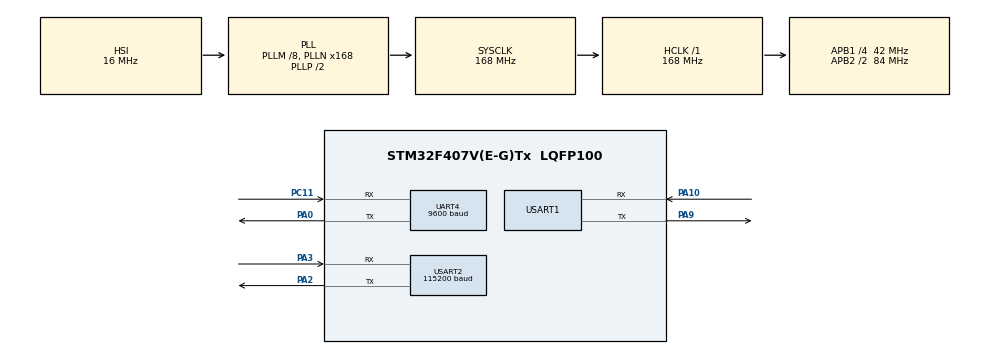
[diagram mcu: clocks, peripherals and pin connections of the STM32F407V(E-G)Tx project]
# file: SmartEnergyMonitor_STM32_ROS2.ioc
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Mcu.Family=STM32F4
Mcu.Name=STM32F407V(E-G)Tx
Mcu.Package=LQFP100
NVIC.PriorityGroup=NVIC_PRIORITYGROUP_4
PA0-WKUP.Mode=Asynchronous
PA0-WKUP.Signal=UART4_TX
PA10.Mode=Asynchronous
PA10.Signal=USART1_RX
PA2.Mode=Asynchronous
PA2.Signal=USART2_TX
PA3.Mode=Asynchronous
PA3.Signal=USART2_RX
PA9.Mode=Asynchronous
PA9.Signal=USART1_TX
PC11.Mode=Asynchronous
PC11.Signal=UART4_RX
PH0-OSC_IN.Mode=HSE-External-Oscillator
PH0-OSC_IN.Signal=RCC_OSC_IN
PH1-OSC_OUT.Mode=HSE-External-Oscillator
PH1-OSC_OUT.Signal=RCC_OSC_OUT
ProjectManager.HeapSize=0x200
ProjectManager.StackSize=0x400
ProjectManager.TargetToolchain=STM32CubeIDE
RCC.48MHZClocksFreq_Value=84000000
RCC.AHBFreq_Value=168000000
RCC.APB1CLKDivider=RCC_HCLK_DIV4
RCC.APB1Freq_Value=42000000
RCC.APB1TimFreq_Value=84000000
RCC.APB2CLKDivider=RCC_HCLK_DIV2
RCC.APB2Freq_Value=84000000
RCC.APB2TimFreq_Value=168000000
RCC.CortexFreq_Value=168000000
RCC.HCLKFreq_Value=168000000
RCC.HSE_VALUE=16000000
RCC.HSI_VALUE=16000000
RCC.LSE_VALUE=32768
RCC.PLLM=8
RCC.PLLN=168
RCC.SYSCLKFreq_VALUE=168000000
RCC.SYSCLKSource=RCC_SYSCLKSOURCE_PLLCLK
RCC.VCOOutputFreq_Value=336000000
UART4.BaudRate=9600
UART4.VirtualMode=Asynchronous
USART1.VirtualMode=VM_ASYNC
USART2.BaudRate=115200
USART2.VirtualMode=VM_ASYNC
board=custom

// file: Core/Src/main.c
/* USER CODE BEGIN Header */
/**
  ******************************************************************************
  * @file           : main.c
  * @brief          : Main program body
  ******************************************************************************
  * @attention
  *
  * Copyright (c) 2026 STMicroelectronics.
  * All rights reserved.
  *
  * This software is licensed under terms that can be found in the LICENSE file
  * in the root directory of this software component.
  * If no LICENSE file comes with this software, it is provided AS-IS.
  *
  ******************************************************************************
  */
/* USER CODE END Header */
#include "main.h"

/* USER CODE BEGIN Includes */
#include "pzem004t.h"
#include <stdio.h>
/* USER CODE END Includes */

/* USER CODE BEGIN PD */
#define POLL_INTERVAL 1000U
#define MAX_RETRIES 3U
#define STARTUP_ATTEMPTS 5U
#define UART4_LOOPBACK_TEST 0U

/* USER CODE END PD */

UART_HandleTypeDef huart4;
UART_HandleTypeDef huart1;
UART_HandleTypeDef huart2;

void SystemClock_Config(void);
static void MX_GPIO_Init(void);
static void MX_USART1_UART_Init(void);
static void MX_USART2_UART_Init(void);
static void MX_UART4_Init(void);
/* USER CODE BEGIN PFP */
PZEM_t pzem;
/* USER CODE END PFP */

/* USER CODE BEGIN 0 */
int __io_putchar(int ch)
{
  uint8_t byte = (uint8_t)ch;
  HAL_UART_Transmit(&huart2, &byte, 1, HAL_MAX_DELAY);
  return ch;
}

static void SendPzemToRaspberry(bool valid, float voltage, float current,
                                float power, float energy, float frequency,
                                float powerFactor)
{
  char line[96];
  int length;

  if (valid) {
    length = snprintf(line, sizeof(line),
                      "PZEM,OK,%.1f,%.3f,%.1f,%.3f,%.1f,%.2f\r\n",
                      voltage, current, power, energy, frequency, powerFactor);
  } else {
    length = snprintf(line, sizeof(line), "PZEM,ERROR,0,0,0,0,0,0\r\n");
  }

  HAL_StatusTypeDef txStatus = HAL_ERROR;
  if (length > 0 && length < (int)sizeof(line)) {
    txStatus = HAL_UART_Transmit(&huart1, (uint8_t *)line, (uint16_t)length, 100);
  }

  if (txStatus == HAL_OK) {
    printf("USART1 -> Raspberry Pi: %s record sent\r\n",
           valid ? "PZEM data" : "PZEM error");
  } else {
    printf("USART1 -> Raspberry Pi: transmit failed (status %d)\r\n",
           (int)txStatus);
  }
}
/* USER CODE END 0 */

int main(void)
{

  /* MCU Configuration--------------------------------------------------------*/

  /* Reset of all peripherals, Initializes the Flash interface and the Systick. */
  HAL_Init();

  /* Configure the system clock */
  SystemClock_Config();

  /* Initialize all configured peripherals */
  MX_GPIO_Init();
  MX_USART1_UART_Init();
  MX_USART2_UART_Init();
  MX_UART4_Init();
  /* USER CODE BEGIN 2 */
#if UART4_LOOPBACK_TEST
  printf("UART4 loopback test: disconnect PZEM and connect PA0 to PC11.\r\n");
  while (1) {
    uint8_t txByte = 0x55;
    uint8_t rxByte = 0;
    HAL_StatusTypeDef txStatus = HAL_UART_Transmit(&huart4, &txByte, 1, 100);
    HAL_StatusTypeDef rxStatus = HAL_UART_Receive(&huart4, &rxByte, 1, 100);

    if (txStatus == HAL_OK && rxStatus == HAL_OK && rxByte == txByte) {
      printf("USART4 LOOPBACK OK: 0x%02X\r\n", rxByte);
    } else {
      printf("USART4 LOOPBACK FAIL: TX=%d RX=%d DATA=0x%02X\r\n",
             (int)txStatus, (int)rxStatus, rxByte);
    }
    HAL_Delay(1000);
  }
#endif

  // PZEM on UART4 (PA0/PC11), terminal output on USART2 (PA2/PA3)
  printf("\r\n=== Smart Energy Monitor ===\r\n");
  printf("USART1: Raspberry Pi @ 115200\r\n");
  printf("USART2: Terminal @ 115200 (PA2/PA3)\r\n");
  printf("UART4: PZEM-004T @ 9600 (PA0/PC11)\r\n\r\n");

  const uint8_t pzemAddresses[] = {0x01, 0xF8};
  bool pzem_found = false;
  for (uint8_t addressIndex = 0;
       addressIndex < (sizeof(pzemAddresses) / sizeof(pzemAddresses[0])) && !pzem_found;
       addressIndex++) {
    PZEM_Init(&pzem, &huart4, pzemAddresses[addressIndex]);
    printf("Checking PZEM at address 0x%02X...\r\n", pzem.addr);

    for (uint8_t attempt = 1; attempt <= STARTUP_ATTEMPTS; attempt++) {
      if (PZEM_ReadAll(&pzem)) {
        printf("PZEM detected at 0x%02X on attempt %u! Voltage: %.1fV\r\n", // @suppress("Float formatting support")
               pzem.addr, (unsigned int)attempt, PZEM_Voltage(&pzem));
        pzem_found = true;
        break;
      }

      printf("Address 0x%02X: attempt %u/%u failed.\r\n",
             pzem.addr, (unsigned int)attempt, (unsigned int)STARTUP_ATTEMPTS);
      HAL_Delay(500);
    }
  }

  if (!pzem_found) {
    printf("WARNING: PZEM not responding; check wiring and address.\r\n");
  }

  printf("Polling every %u ms...\r\n\r\n", (unsigned int)POLL_INTERVAL);
  /* USER CODE END 2 */

  /* Infinite loop */
  while (1)
  {
	  // Read all parameters from PZEM
	    	          bool read_ok = false;
	    	          for (uint8_t retry = 0; retry < MAX_RETRIES; retry++) {
	    	              if (PZEM_ReadAll(&pzem)) {
	    	                  read_ok = true;
	    	                  break;
	    	              }
	    	          }
	    	          if (read_ok) {
		 	              float voltage = PZEM_Voltage(&pzem);
		 	              float current = PZEM_Current(&pzem);
		 	              float power = PZEM_Power(&pzem);
		 	              float energy = PZEM_Energy(&pzem);
		 	              float frequency = PZEM_Frequency(&pzem);
		 	              float pf = PZEM_PowerFactor(&pzem);
                    SendPzemToRaspberry(true, voltage, current, power, energy, frequency, pf);

		 	              printf("V: %.1fV | I: %.3fA | P: %.1fW | E: %.3fkWh | F: %.1fHz | PF: %.2f\n", // @suppress("Float formatting support")
		 	                     voltage, current, power, energy, frequency, pf);
		 	          } else {
                    SendPzemToRaspberry(false, 0.0f, 0.0f, 0.0f, 0.0f, 0.0f, 0.0f);
		 	              printf("PZEM read failed!\n");
		 	          }

	    	          HAL_Delay(POLL_INTERVAL);

  }
}

void SystemClock_Config(void)
{
  RCC_OscInitTypeDef RCC_OscInitStruct = {0};
  RCC_ClkInitTypeDef RCC_ClkInitStruct = {0};

  /** Configure the main internal regulator output voltage
  */
  __HAL_RCC_PWR_CLK_ENABLE();
  __HAL_PWR_VOLTAGESCALING_CONFIG(PWR_REGULATOR_VOLTAGE_SCALE1);

  /** Initializes the RCC Oscillators according to the specified parameters
  * in the RCC_OscInitTypeDef structure.
  */
  RCC_OscInitStruct.OscillatorType = RCC_OSCILLATORTYPE_HSI;
  RCC_OscInitStruct.HSIState = RCC_HSI_ON;
  RCC_OscInitStruct.HSICalibrationValue = RCC_HSICALIBRATION_DEFAULT;
  RCC_OscInitStruct.PLL.PLLState = RCC_PLL_ON;
  RCC_OscInitStruct.PLL.PLLSource = RCC_PLLSOURCE_HSI;
  RCC_OscInitStruct.PLL.PLLM = 8;
  RCC_OscInitStruct.PLL.PLLN = 168;
  RCC_OscInitStruct.PLL.PLLP = RCC_PLLP_DIV2;
  RCC_OscInitStruct.PLL.PLLQ = 4;
  if (HAL_RCC_OscConfig(&RCC_OscInitStruct) != HAL_OK)
  {
    Error_Handler();
  }

  /** Initializes the CPU, AHB and APB buses clocks
  */
  RCC_ClkInitStruct.ClockType = RCC_CLOCKTYPE_HCLK|RCC_CLOCKTYPE_SYSCLK
                              |RCC_CLOCKTYPE_PCLK1|RCC_CLOCKTYPE_PCLK2;
  RCC_ClkInitStruct.SYSCLKSource = RCC_SYSCLKSOURCE_PLLCLK;
  RCC_ClkInitStruct.AHBCLKDivider = RCC_SYSCLK_DIV1;
  RCC_ClkInitStruct.APB1CLKDivider = RCC_HCLK_DIV4;
  RCC_ClkInitStruct.APB2CLKDivider = RCC_HCLK_DIV2;

  if (HAL_RCC_ClockConfig(&RCC_ClkInitStruct, FLASH_LATENCY_5) != HAL_OK)
  {
    Error_Handler();
  }
}

static void MX_UART4_Init(void)
{

  huart4.Instance = UART4;
  huart4.Init.BaudRate = 9600;
  huart4.Init.WordLength = UART_WORDLENGTH_8B;
  huart4.Init.StopBits = UART_STOPBITS_1;
  huart4.Init.Parity = UART_PARITY_NONE;
  huart4.Init.Mode = UART_MODE_TX_RX;
  huart4.Init.HwFlowCtl = UART_HWCONTROL_NONE;
  huart4.Init.OverSampling = UART_OVERSAMPLING_16;
  if (HAL_UART_Init(&huart4) != HAL_OK)
  {
    Error_Handler();
  }

}

static void MX_USART1_UART_Init(void)
{

  huart1.Instance = USART1;
  huart1.Init.BaudRate = 115200;
  huart1.Init.WordLength = UART_WORDLENGTH_8B;
  huart1.Init.StopBits = UART_STOPBITS_1;
  huart1.Init.Parity = UART_PARITY_NONE;
  huart1.Init.Mode = UART_MODE_TX_RX;
  huart1.Init.HwFlowCtl = UART_HWCONTROL_NONE;
  huart1.Init.OverSampling = UART_OVERSAMPLING_16;
  if (HAL_UART_Init(&huart1) != HAL_OK)
  {
    Error_Handler();
  }

}

static void MX_USART2_UART_Init(void)
{

  huart2.Instance = USART2;
  huart2.Init.BaudRate = 115200;
  huart2.Init.WordLength = UART_WORDLENGTH_8B;
  huart2.Init.StopBits = UART_STOPBITS_1;
  huart2.Init.Parity = UART_PARITY_NONE;
  huart2.Init.Mode = UART_MODE_TX_RX;
  huart2.Init.HwFlowCtl = UART_HWCONTROL_NONE;
  huart2.Init.OverSampling = UART_OVERSAMPLING_16;
  if (HAL_UART_Init(&huart2) != HAL_OK)
  {
    Error_Handler();
  }

}

static void MX_GPIO_Init(void)
{

  /* GPIO Ports Clock Enable */
  __HAL_RCC_GPIOH_CLK_ENABLE();
  __HAL_RCC_GPIOA_CLK_ENABLE();
  __HAL_RCC_GPIOC_CLK_ENABLE();

}

void Error_Handler(void)
{
  __disable_irq();
  while (1)
  {
  }
}
